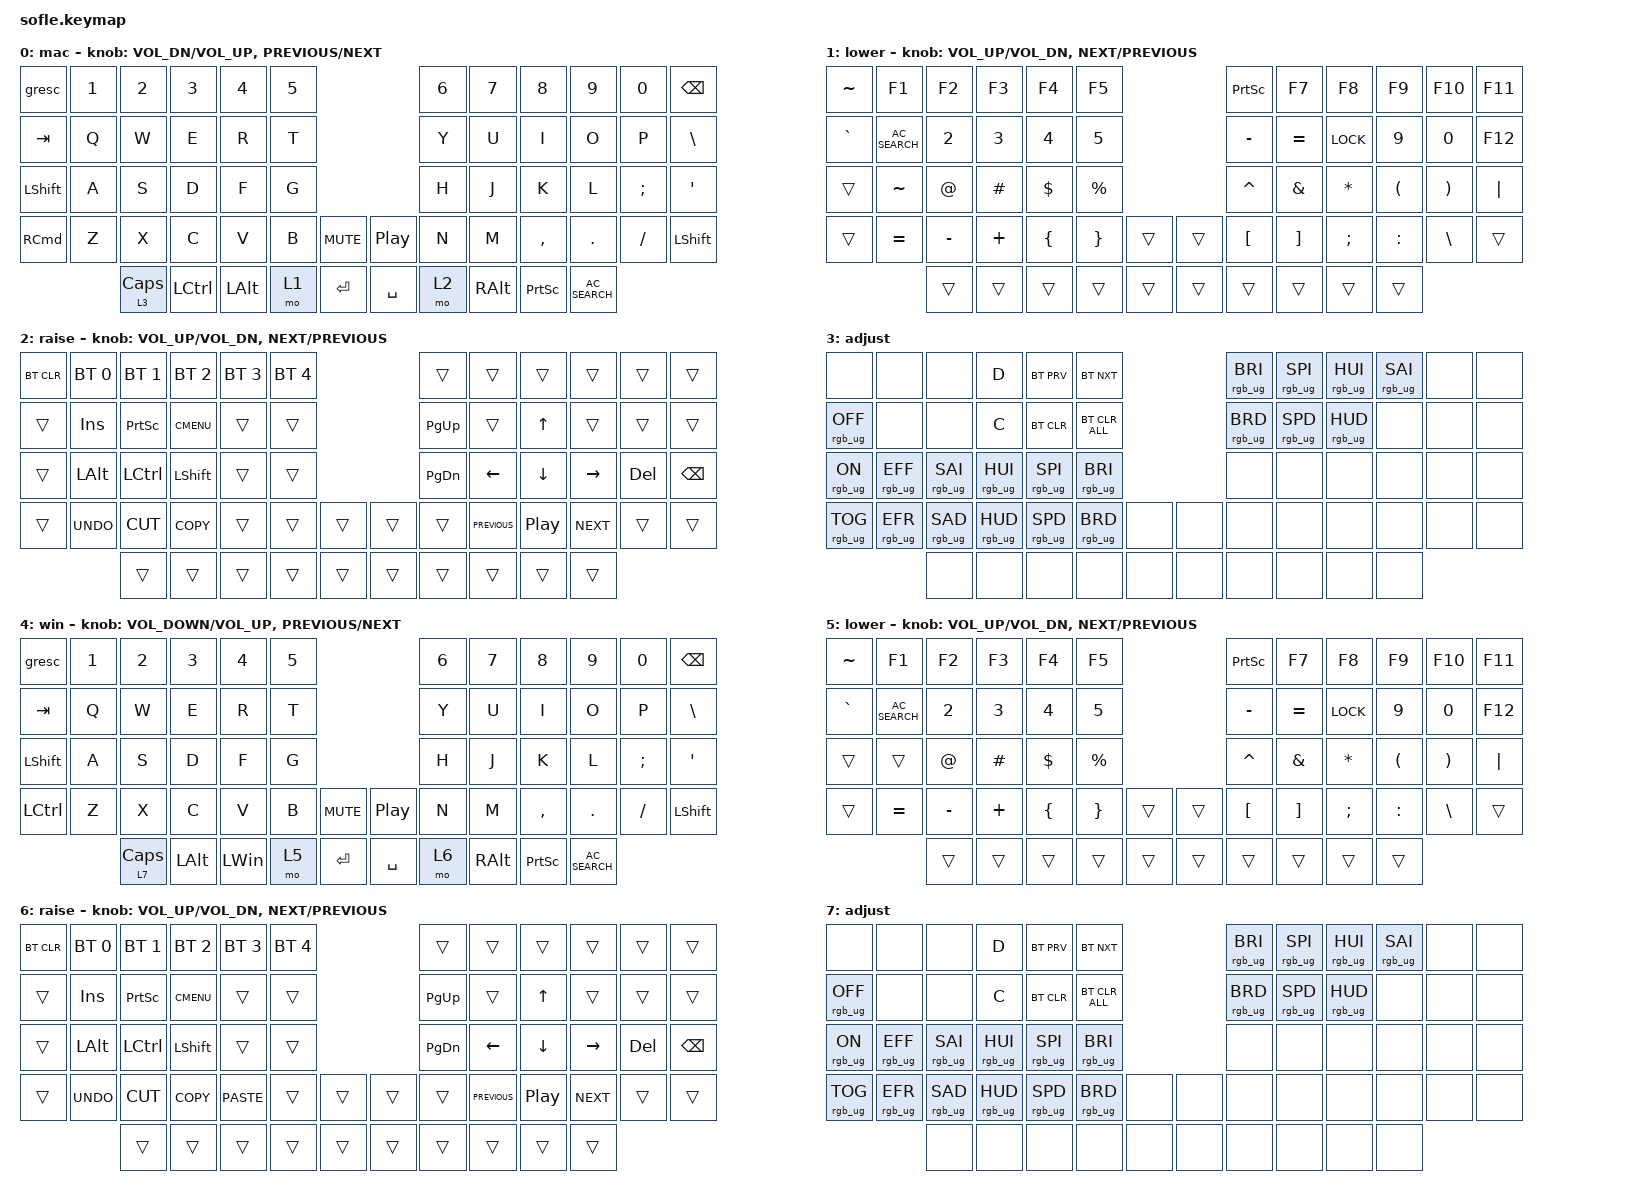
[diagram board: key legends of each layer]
/*
 * Copyright (c) 2020 The ZMK Contributors
 *
 * SPDX-License-Identifier: MIT
 */

#include <behaviors.dtsi>
#include <dt-bindings/zmk/bt.h>
#include <dt-bindings/zmk/keys.h>
#include <dt-bindings/zmk/rgb.h>

#define BASE 0
#define LOWER 1
#define RAISE 2
#define ADJUST 3

&led_strip {
    chain-length = <29>; // Sofle Using All LEDs
};

/ {
    // Activate ADJUST layer by pressing raise and lower

    conditional_layers { compatible = "zmk,conditional-layers"; };

    combos {
        compatible = "zmk,combos";

        tomacos {
            bindings = <&to 0>;
            key-positions = <39 40 41>;
            layers = <0 1 2 3 3 4 5 6 7>;
        };

        towin {
            bindings = <&to 4>;
            key-positions = <27 28 29>;
            layers = <0 1 2 3 3 4 5 6 7>;
        };
    };

    keymap {
        compatible = "zmk,keymap";

        mac {
            display-name = "mac";

            // ------------------------------------------------------------------------------------------------------------
            // |   `   |  1  |  2  |  3   |  4   |  5   |                   |  6   |  7    |  8    |  9   |   0   |       |
            // |  ESC  |  Q  |  W  |  E   |  R   |  T   |                   |  Y   |  U    |  I    |  O   |   P   | BKSPC |
            // |  TAB  |  A  |  S  |  D   |  F   |  G   |                   |  H   |  J    |  K    |  L   |   ;   |   '   |
            // | SHIFT |  Z  |  X  |  C   |  V   |  B   |  MUTE  |  |       |  N   |  M    |  ,    |  .   |   /   | SHIFT |
            //               | GUI | ALT  | CTRL | LOWER|  ENTER |  | SPACE | RAISE| CTRL  | ALT   | GUI  |

            bindings = <
&gresc             &kp N1  &kp N2          &kp N3            &kp N4        &kp N5                                  &kp N6  &kp N7         &kp N8           &kp N9           &kp N0    &kp BACKSPACE
&kp TAB            &kp Q   &kp W           &kp E             &kp R         &kp T                                   &kp Y   &kp U          &kp I            &kp O            &kp P     &kp BSLH
&kp LEFT_SHIFT     &kp A   &kp S           &kp D             &kp F         &kp G                                   &kp H   &kp J          &kp K            &kp L            &kp SEMI  &kp SQT
&kp RIGHT_COMMAND  &kp Z   &kp X           &kp C             &kp V         &kp B   &kp C_MUTE    &kp C_PLAY_PAUSE  &kp N   &kp M          &kp COMMA        &kp DOT          &kp FSLH  &kp LSHFT
                           &lt 3 CAPSLOCK  &kp LEFT_CONTROL  &kp LEFT_ALT  &mo 1   &kp ENTER     &kp SPACE         &mo 2   &kp RIGHT_ALT  &kp PRINTSCREEN  &kp C_AC_SEARCH
            >;

            sensor-bindings =
                <&inc_dec_kp C_VOL_DN C_VOL_UP>,
                <&inc_dec_kp C_PREVIOUS C_NEXT>;
        };

        lower_layer {
            display-name = "lower";

            // TODO: Some binds are waiting for shifted keycode support.
            // ------------------------------------------------------------------------------------------------------------
            // |       |  F1 |  F2 |  F3  |  F4  |  F5  |                   |  F6  |  F7   |  F8   |  F9  |  F10  |  F11  |
            // |   `   |  1  |  2  |  3   |  4   |  5   |                   |  6   |  7    |  8    |  9   |   0   |  F12  |
            // |       |  !  |  @  |  #   |  $   |  %   |                   |  ^   |  &    |  *    |  (   |   )   |   |   |
            // |       |  =  |  -  |  +   |  {   |  }   |        |  |       |  [   |  ]    |  ;    |  :   |   \   |       |
            //               |     |      |      |      |        |  |       |      |       |       |      |

            bindings = <
&kp TILDE  &kp F1           &kp F2     &kp F3    &kp F4    &kp F5                       &kp PRINTSCREEN  &kp F7     &kp F8      &kp F9     &kp F10   &kp F11
&kp GRAVE  &kp C_AC_SEARCH  &kp N2     &kp N3    &kp N4    &kp N5                       &kp MINUS        &kp EQUAL  &kp K_LOCK  &kp N9     &kp N0    &kp F12
&trans     &kp TILDE        &kp AT     &kp HASH  &kp DLLR  &kp PRCNT                    &kp CARET        &kp AMPS   &kp ASTRK   &kp LPAR   &kp RPAR  &kp PIPE
&trans     &kp EQUAL        &kp MINUS  &kp PLUS  &kp LBRC  &kp RBRC   &trans    &trans  &kp LBKT         &kp RBKT   &kp SEMI    &kp COLON  &kp BSLH  &trans
                            &trans     &trans    &trans    &trans     &trans    &trans  &trans           &trans     &trans      &trans
            >;

            sensor-bindings =
                <&inc_dec_kp C_VOL_UP C_VOL_DN>,
                <&inc_dec_kp C_NEXT C_PREVIOUS>;
        };

        raise_layer {
            display-name = "raise";

            // ------------------------------------------------------------------------------------------------------------
            // | BTCLR | BT1  | BT2  |  BT3  |  BT4  |  BT5 |                |      |      |       |      |       |       |
            // |       | INS  | PSCR | GUI   |       |      |                | PGUP |      |   ^   |      |       |       |
            // |       | ALT  | CTRL | SHIFT |       | CAPS |                | PGDN |   <- |   v   |  ->  |  DEL  | BKSPC |
            // |       | UNDO | CUT  | COPY  | PASTE |      |      |  |      |      |      |       |      |       |       |
            //                |      |       |       |      |      |  |      |      |      |       |      |

            bindings = <
&bt BT_CLR  &bt BT_SEL 0  &bt BT_SEL 1  &bt BT_SEL 2  &bt BT_SEL 3  &bt BT_SEL 4                    &trans     &trans          &trans            &trans      &trans   &trans
&trans      &kp INS       &kp PSCRN     &kp K_CMENU   &trans        &trans                          &kp PG_UP  &trans          &kp UP            &trans      &trans   &trans
&trans      &kp LALT      &kp LCTRL     &kp LSHFT     &trans        &trans                          &kp PG_DN  &kp LEFT        &kp DOWN          &kp RIGHT   &kp DEL  &kp BSPC
&trans      &kp K_UNDO    &kp K_CUT     &kp K_COPY    &trans        &trans        &trans    &trans  &trans     &kp C_PREVIOUS  &kp C_PLAY_PAUSE  &kp C_NEXT  &trans   &trans
                          &trans        &trans        &trans        &trans        &trans    &trans  &trans     &trans          &trans            &trans
            >;

            sensor-bindings =
                <&inc_dec_kp C_VOL_UP C_VOL_DN>,
                <&inc_dec_kp C_NEXT C_PREVIOUS>;
        };

        adjust_layer {
            // ----------------------------------------------------------------------------------------------------------------------------
            // | BTCLR  |  BT1    |  BT2    |   BT3   |   BT4   |   BT5   |                  |      |      |       |      |       |       |
            // | EXTPWR | RGB_HUD | RGB_HUI | RGB_SAD | RGB_SAI | RGB_EFF |                  |      |      |       |      |       |       |
            // |        | RGB_BRD | RGB_BRI |         |         |         |                  |      |      |       |      |       |       |
            // |        |         |         |         |         |         | RGB_TOG | |      |      |      |       |      |       |       |
            //                    |         |         |         |         |         | |      |      |      |       |      |

            display-name = "adjust";
            bindings = <
&none            &none            &none            &kp D            &bt BT_PRV       &bt BT_NXT                       &rgb_ug RGB_BRI  &rgb_ug RGB_SPI  &rgb_ug RGB_HUI  &rgb_ug RGB_SAI  &none  &none
&rgb_ug RGB_OFF  &none            &none            &kp C            &bt BT_CLR       &bt BT_CLR_ALL                   &rgb_ug RGB_BRD  &rgb_ug RGB_SPD  &rgb_ug RGB_HUD  &none            &none  &none
&rgb_ug RGB_ON   &rgb_ug RGB_EFF  &rgb_ug RGB_SAI  &rgb_ug RGB_HUI  &rgb_ug RGB_SPI  &rgb_ug RGB_BRI                  &none            &none            &none            &none            &none  &none
&rgb_ug RGB_TOG  &rgb_ug RGB_EFR  &rgb_ug RGB_SAD  &rgb_ug RGB_HUD  &rgb_ug RGB_SPD  &rgb_ug RGB_BRD  &none    &none  &none            &none            &none            &none            &none  &none
                                  &none            &none            &none            &none            &none    &none  &none            &none            &none            &none
            >;
        };

        win {
            display-name = "win";
            bindings = <
&gresc            &kp N1  &kp N2          &kp N3        &kp N4        &kp N5                                  &kp N6  &kp N7         &kp N8           &kp N9           &kp N0    &kp BACKSPACE
&kp TAB           &kp Q   &kp W           &kp E         &kp R         &kp T                                   &kp Y   &kp U          &kp I            &kp O            &kp P     &kp BSLH
&kp LEFT_SHIFT    &kp A   &kp S           &kp D         &kp F         &kp G                                   &kp H   &kp J          &kp K            &kp L            &kp SEMI  &kp SQT
&kp LEFT_CONTROL  &kp Z   &kp X           &kp C         &kp V         &kp B   &kp C_MUTE    &kp C_PLAY_PAUSE  &kp N   &kp M          &kp COMMA        &kp DOT          &kp FSLH  &kp LSHFT
                          &lt 7 CAPSLOCK  &kp LEFT_ALT  &kp LEFT_WIN  &mo 5   &kp ENTER     &kp SPACE         &mo 6   &kp RIGHT_ALT  &kp PRINTSCREEN  &kp C_AC_SEARCH
            >;

            sensor-bindings =
                <&inc_dec_kp C_VOLUME_DOWN C_VOLUME_UP>,
                <&inc_dec_kp C_PREVIOUS C_NEXT>;
        };

        lower_layer_win {
            display-name = "lower";
            bindings = <
&kp TILDE  &kp F1           &kp F2     &kp F3    &kp F4    &kp F5                       &kp PRINTSCREEN  &kp F7     &kp F8      &kp F9     &kp F10   &kp F11
&kp GRAVE  &kp C_AC_SEARCH  &kp N2     &kp N3    &kp N4    &kp N5                       &kp MINUS        &kp EQUAL  &kp K_LOCK  &kp N9     &kp N0    &kp F12
&trans     &trans           &kp AT     &kp HASH  &kp DLLR  &kp PRCNT                    &kp CARET        &kp AMPS   &kp ASTRK   &kp LPAR   &kp RPAR  &kp PIPE
&trans     &kp EQUAL        &kp MINUS  &kp PLUS  &kp LBRC  &kp RBRC   &trans    &trans  &kp LBKT         &kp RBKT   &kp SEMI    &kp COLON  &kp BSLH  &trans
                            &trans     &trans    &trans    &trans     &trans    &trans  &trans           &trans     &trans      &trans
            >;

            sensor-bindings =
                <&inc_dec_kp C_VOL_UP C_VOL_DN>,
                <&inc_dec_kp C_NEXT C_PREVIOUS>;
        };

        raise_layer_win {
            display-name = "raise";
            bindings = <
&bt BT_CLR  &bt BT_SEL 0  &bt BT_SEL 1  &bt BT_SEL 2  &bt BT_SEL 3  &bt BT_SEL 4                    &trans     &trans          &trans            &trans      &trans   &trans
&trans      &kp INS       &kp PSCRN     &kp K_CMENU   &trans        &trans                          &kp PG_UP  &trans          &kp UP            &trans      &trans   &trans
&trans      &kp LALT      &kp LCTRL     &kp LSHFT     &trans        &trans                          &kp PG_DN  &kp LEFT        &kp DOWN          &kp RIGHT   &kp DEL  &kp BSPC
&trans      &kp K_UNDO    &kp K_CUT     &kp K_COPY    &kp K_PASTE   &trans        &trans    &trans  &trans     &kp C_PREVIOUS  &kp C_PLAY_PAUSE  &kp C_NEXT  &trans   &trans
                          &trans        &trans        &trans        &trans        &trans    &trans  &trans     &trans          &trans            &trans
            >;

            sensor-bindings =
                <&inc_dec_kp C_VOL_UP C_VOL_DN>,
                <&inc_dec_kp C_NEXT C_PREVIOUS>;
        };

        adjust_layer_win {
            display-name = "adjust";
            bindings = <
&none            &none            &none            &kp D            &bt BT_PRV       &bt BT_NXT                       &rgb_ug RGB_BRI  &rgb_ug RGB_SPI  &rgb_ug RGB_HUI  &rgb_ug RGB_SAI  &none  &none
&rgb_ug RGB_OFF  &none            &none            &kp C            &bt BT_CLR       &bt BT_CLR_ALL                   &rgb_ug RGB_BRD  &rgb_ug RGB_SPD  &rgb_ug RGB_HUD  &none            &none  &none
&rgb_ug RGB_ON   &rgb_ug RGB_EFF  &rgb_ug RGB_SAI  &rgb_ug RGB_HUI  &rgb_ug RGB_SPI  &rgb_ug RGB_BRI                  &none            &none            &none            &none            &none  &none
&rgb_ug RGB_TOG  &rgb_ug RGB_EFR  &rgb_ug RGB_SAD  &rgb_ug RGB_HUD  &rgb_ug RGB_SPD  &rgb_ug RGB_BRD  &none    &none  &none            &none            &none            &none            &none  &none
                                  &none            &none            &none            &none            &none    &none  &none            &none            &none            &none
            >;
        };
    };
};
